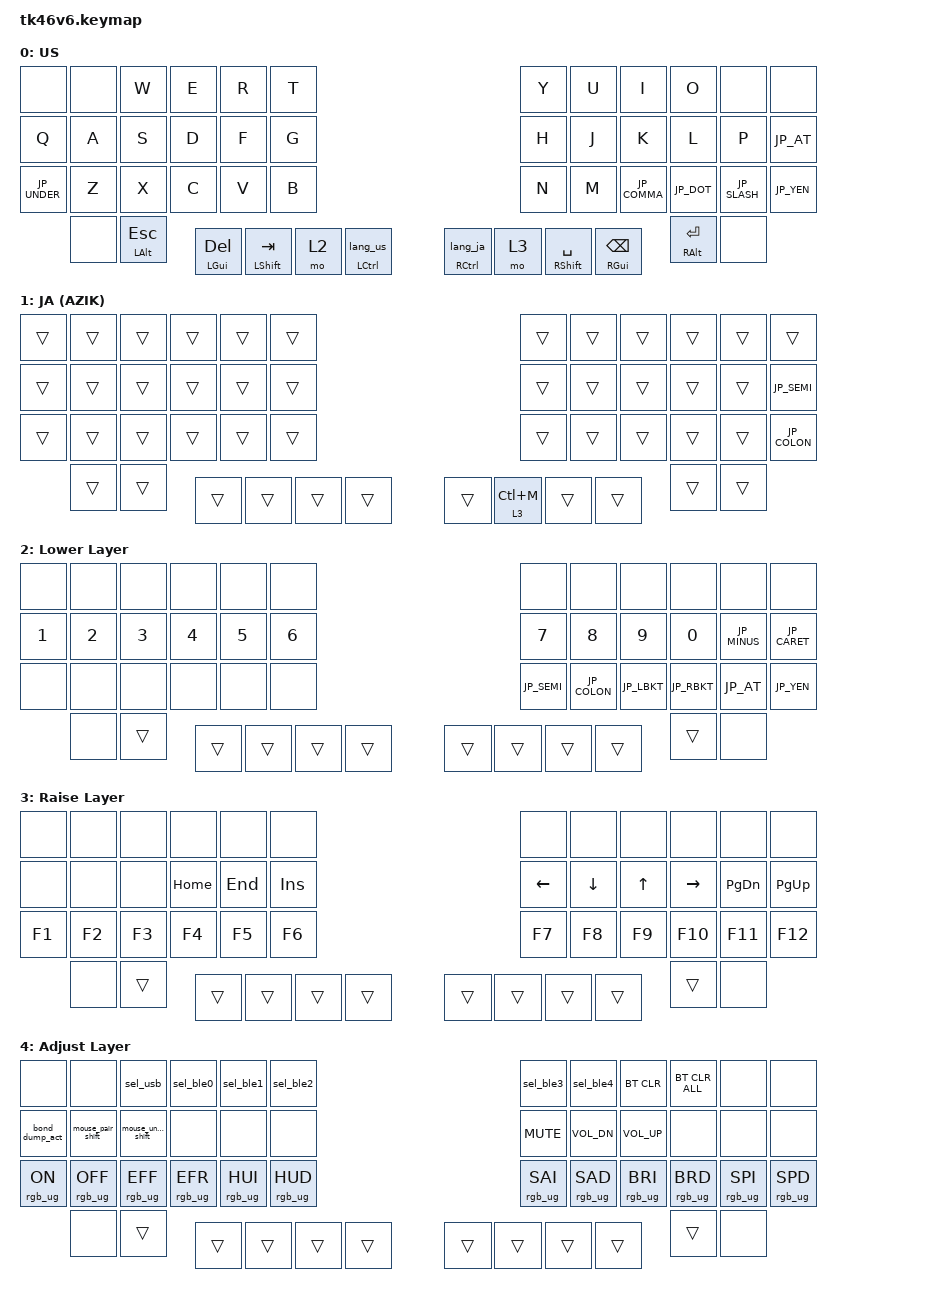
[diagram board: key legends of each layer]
#include <dt-bindings/zmk/bt.h>
#include <dt-bindings/zmk/outputs.h>
#include "../common/keycode_japanese.h"
#include "../common/behaviors.dtsi"
#include <dt-bindings/zmk/rgb.h>
#include <dt-bindings/zmk/modifiers.h>

/ {
     conditional_layers {
        compatible = "zmk,conditional-layers";
        tri_layer {
            if-layers = <2 3>;
            then-layer = <4>;
        };
    };

    behaviors {
        /* Guard the mouse pair/unpair keys behind Shift, so a stray press on
           the adjust layer can't drop or re-pair the mouse. Without Shift they
           are a no-op; with Shift held they run the real behavior. */
        mouse_pair_shift: mouse_pair_shift {
            compatible = "zmk,behavior-mod-morph";
            #binding-cells = <0>;
            bindings = <&none>, <&mouse_pair>;
            mods = <(MOD_LSFT|MOD_RSFT)>;
        };
        mouse_unpair_shift: mouse_unpair_shift {
            compatible = "zmk,behavior-mod-morph";
            #binding-cells = <0>;
            bindings = <&none>, <&mouse_unpair>;
            mods = <(MOD_LSFT|MOD_RSFT)>;
        };

        /* Thumb Ctrl keys: hold = Ctrl, tap = IME switch + base-layer switch.
           US: LANG2 (英数) + layer 0 / JA: LANG1 (かな) + layer 1 (AZIK). */
        ctl_us: ctl_us {
            compatible = "zmk,behavior-hold-tap";
            #binding-cells = <2>;
            flavor = "hold-preferred";
            tapping-term-ms = <200>;
            quick-tap-ms = <300>;
            bindings = <&kp>, <&lang_us>;
        };
        ctl_ja: ctl_ja {
            compatible = "zmk,behavior-hold-tap";
            #binding-cells = <2>;
            flavor = "hold-preferred";
            tapping-term-ms = <200>;
            quick-tap-ms = <300>;
            bindings = <&kp>, <&lang_ja>;
        };

        /* JA-mode raise key: hold = raise layer, tap = Ctrl-M.
           hold-preferred: any other key pressed while held makes it the layer. */
        raise_cm: raise_cm {
            compatible = "zmk,behavior-hold-tap";
            #binding-cells = <2>;
            flavor = "hold-preferred";
            tapping-term-ms = <200>;
            bindings = <&mo>, <&kp>;
        };
    };

    macros {
        lang_us: lang_us {
            compatible = "zmk,behavior-macro";
            #binding-cells = <0>;
            bindings = <&kp LANG2>, <&to 0>;
        };
        lang_ja: lang_ja {
            compatible = "zmk,behavior-macro";
            #binding-cells = <0>;
            bindings = <&kp LANG1>, <&to 1>;
        };
    };

    keymap {
        compatible = "zmk,keymap";

        default_layer {
            display-name = "US";
            // --- ---  w   e   r   t           y   u   i   o  --- ---
            //  q   a   s   d   f   g           h   j   k   l   p   @
            //  _   z   x   c   v   b           n   m   ,   .   /   \
            //         ALT GUI SFT LOW CTL CTL RIS SFT GUI ALT
            //         ESC DEL TAB     EIS KAN     SPC BSP ENT

            bindings = <
                &none &none &kp W &kp E &kp R &kp T &kp Y &kp U &kp I &kp O &none &none
                &kp Q &kp A &kp S &kp D &kp F &kp G &kp H &kp J &kp K &kp L &kp P &kp JP_AT
                &kp JP_UNDER &kp Z &kp X &kp C &kp V &kp B &kp N &kp M &kp JP_COMMA &kp JP_DOT &kp JP_SLASH &kp JP_YEN
                &none
                &mt LALT ESC &mt LGUI DEL &mt LSHFT TAB &mo 2 &ctl_us LCTL 0
                &ctl_ja RCTL 0 &mo 3 &mt RSHFT SPACE &mt RGUI BSPC &mt RALT ENTER
                &none
            >;
        };

        ja_layer {
            display-name = "JA (AZIK)";
            // Same as US except:  @ -> ; (AZIK: っ)   \ -> : (AZIK: ー)
            //                     RIS tap -> Ctrl-M (hold is still raise)
            // --- --- ___ ___ ___ ___         ___ ___ ___ ___ --- ---
            // ___ ___ ___ ___ ___ ___         ___ ___ ___ ___ ___  ;
            // ___ ___ ___ ___ ___ ___         ___ ___ ___ ___ ___  :
            //         ___ ___ ___ ___ ___ ___ C-m ___ ___ ___

            bindings = <
                &trans &trans &trans &trans &trans &trans &trans &trans &trans &trans &trans &trans
                &trans &trans &trans &trans &trans &trans &trans &trans &trans &trans &trans &kp JP_SEMI
                &trans &trans &trans &trans &trans &trans &trans &trans &trans &trans &trans &kp JP_COLON
                &trans
                &trans &trans &trans &trans &trans
                &trans &raise_cm 3 LC(M) &trans &trans &trans
                &trans
            >;
        };

        lower_layer {
            display-name = "Lower Layer";
            // --- --- --- --- --- ---         --- --- --- --- --- ---
            //  1   2   3   4   5   6           7   8   9   0   -   ^
            // --- --- --- --- --- ---          ;   :   [   ]  (@) (\)
            //         ___ ___ ___ ___ ___ ___ ___ ___ ___ ___

            bindings = <
                &none &none &none &none &none &none &none &none &none &none &none &none
                &kp N1 &kp N2 &kp N3 &kp N4 &kp N5 &kp N6 &kp N7 &kp N8 &kp N9 &kp N0 &kp JP_MINUS &kp JP_CARET
                &none &none &none &none &none &none &kp JP_SEMI &kp JP_COLON &kp JP_LBKT &kp JP_RBKT &kp JP_AT &kp JP_YEN
                &none
                &trans &trans &trans &trans &trans
                &trans &trans &trans &trans &trans
                &none
            >;
        };

        raise_layer {
            display-name = "Raise Layer";
            // --- --- --- --- --- ---         --- --- --- --- --- ---
            // --- --- --- HOM END INS         <<< vvv ^^^ >>> Pvv P^^
            // F1  F2  F3  F4  F5  F6          F7  F8  F9  F1O F11 F12
            //         ___ ___ ___ ___ ___ ___ ___ ___ ___ ___

            bindings = <
                &none &none &none &none &none &none &none &none &none &none &none &none
                &none &none &none &kp HOME &kp END &kp INS &kp LEFT &kp DOWN &kp UP &kp RIGHT &kp PG_DN &kp PG_UP
                &kp F1 &kp F2 &kp F3 &kp F4 &kp F5 &kp F6 &kp F7 &kp F8 &kp F9 &kp F10 &kp F11 &kp F12
                &none
                &trans &trans &trans &trans &trans
                &trans &trans &trans &trans &trans
                &none
            >;
        };

        adjust_layer {
            display-name = "Adjust Layer";
            // --- --- USB BT0 BT1 BT2         BT3 BT4 CLR CLRALL --- --- (BT_DESC 0~4 : SHIFT + BT0~4)
            // BDP MP  MUP --- --- ---         MUT Vvv v^^ --- --- ---
            // ON  OFF EFF EFR HUD HUI         SAI SAD BRI BRD SPI SPD
            //         ___ ___ ___ ___ ___ ___ ___ ___ ___ ___

            bindings = <
                &none &none &sel_usb &sel_ble0 &sel_ble1 &sel_ble2 &sel_ble3 &sel_ble4 &bt BT_CLR &bt BT_CLR_ALL &none &none
                &bond_dump_act &mouse_pair_shift &mouse_unpair_shift &none &none &none &kp C_MUTE &kp C_VOL_DN &kp C_VOL_UP &none &none &none
                &rgb_ug RGB_ON &rgb_ug RGB_OFF &rgb_ug RGB_EFF &rgb_ug RGB_EFR &rgb_ug RGB_HUI &rgb_ug RGB_HUD &rgb_ug RGB_SAI &rgb_ug RGB_SAD &rgb_ug RGB_BRI &rgb_ug RGB_BRD &rgb_ug RGB_SPI &rgb_ug RGB_SPD
                &none
                &trans &trans &trans &trans &trans
                &trans &trans &trans &trans &trans
                &none
            >;
        };

    };
};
